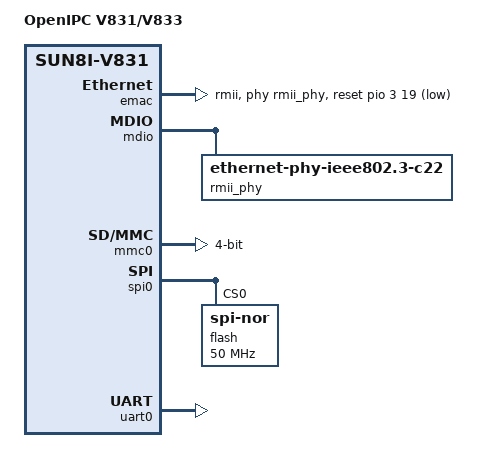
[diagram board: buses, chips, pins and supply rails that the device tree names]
// SPDX-License-Identifier: (GPL-2.0+ OR MIT)
/*
 * A V831/V833 IP camera as the vendor's reference design wires it:
 * console on UART0 (PH9/PH10), SPI NOR on SPI0 (PC0-PC3), the SD card on
 * SMHC0 (PF0-PF5), an RMII PHY on the EMAC (PD), clocked by the SoC's
 * 25 MHz output and reset on PD19.
 */

/dts-v1/;

#include "sun8i-v831.dtsi"

#include <dt-bindings/gpio/gpio.h>

/ {
	model = "OpenIPC V831/V833";
	compatible = "openipc,v83x", "allwinner,sun8i-v831";

	aliases {
		ethernet0 = &emac;
		serial0 = &uart0;
		spi0 = &spi0;
	};

	chosen {
		stdout-path = "serial0:115200n8";
	};
};

&emac {
	pinctrl-names = "default";
	pinctrl-0 = <&rmii_pins>;
	phy-mode = "rmii";
	phy-handle = <&rmii_phy>;
	allwinner,tx-delay-ps = <700>;
	allwinner,rx-delay-ps = <3100>;
	snps,reset-gpio = <&pio 3 19 GPIO_ACTIVE_HIGH>;	/* PD19 */
	snps,reset-active-low;
	snps,reset-delays-us = <0 10000 50000>;
	status = "okay";
};

&mdio {
	/*
	 * No address: the boards strap their PHYs differently, so the MDIO
	 * bus is scanned, as the vendor driver does
	 */
	rmii_phy: ethernet-phy {
		compatible = "ethernet-phy-ieee802.3-c22";
	};
};

&mmc0 {
	bus-width = <4>;
	broken-cd;
	status = "okay";
};

&spi0 {
	status = "okay";

	flash@0 {
		#address-cells = <1>;
		#size-cells = <1>;
		compatible = "jedec,spi-nor";
		reg = <0>;
		spi-max-frequency = <50000000>;
	};
};

&uart0 {
	pinctrl-names = "default";
	pinctrl-0 = <&uart0_ph_pins>;
	status = "okay";
};
